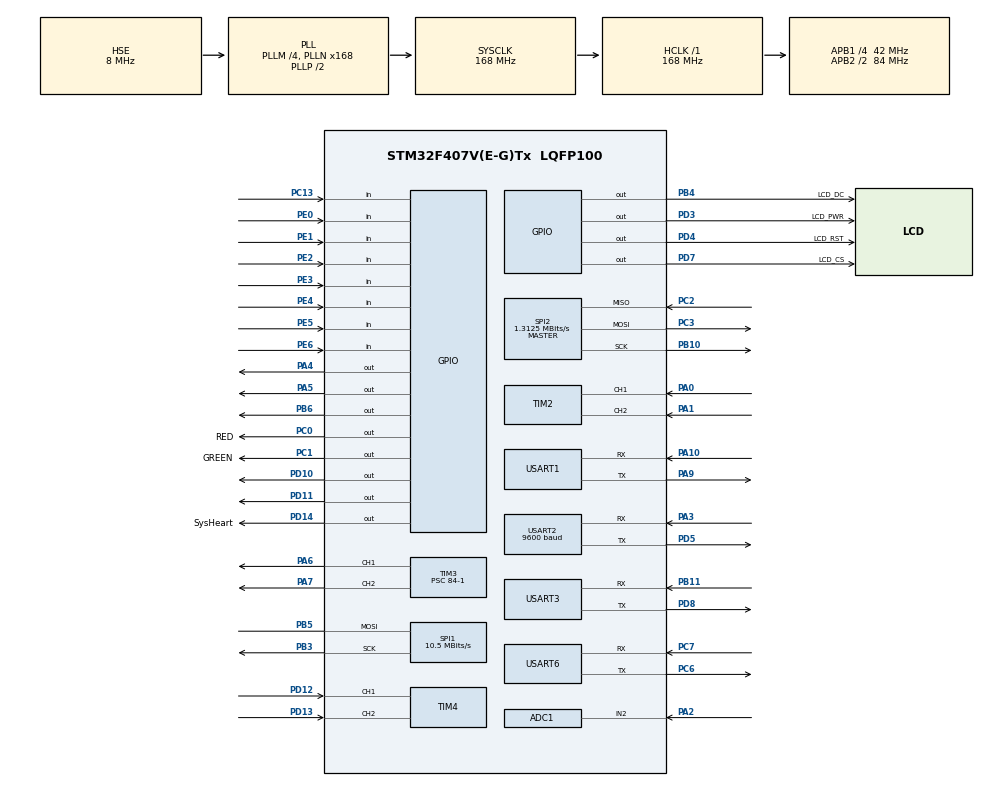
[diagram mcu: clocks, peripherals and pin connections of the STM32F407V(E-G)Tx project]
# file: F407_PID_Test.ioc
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ADC1.Channel-0\#ChannelRegularConversion=ADC_CHANNEL_2
ADC1.ClockPrescaler=ADC_CLOCK_SYNC_PCLK_DIV6
ADC1.ContinuousConvMode=ENABLE
ADC1.DMAContinuousRequests=ENABLE
ADC1.NbrOfConversionFlag=1
ADC1.Rank-0\#ChannelRegularConversion=1
ADC1.SamplingTime-0\#ChannelRegularConversion=ADC_SAMPLETIME_144CYCLES
ADC1.master=1
Dma.ADC1.2.Direction=DMA_PERIPH_TO_MEMORY
Dma.ADC1.2.FIFOMode=DMA_FIFOMODE_DISABLE
Dma.ADC1.2.Instance=DMA2_Stream0
Dma.ADC1.2.MemDataAlignment=DMA_MDATAALIGN_HALFWORD
Dma.ADC1.2.MemInc=DMA_MINC_ENABLE
Dma.ADC1.2.Mode=DMA_CIRCULAR
Dma.ADC1.2.PeriphDataAlignment=DMA_PDATAALIGN_HALFWORD
Dma.ADC1.2.PeriphInc=DMA_PINC_DISABLE
Dma.ADC1.2.Priority=DMA_PRIORITY_LOW
Dma.Request0=USART1_RX
Dma.Request1=USART1_TX
Dma.Request2=ADC1
Dma.Request3=USART6_RX
Dma.USART1_RX.0.Direction=DMA_PERIPH_TO_MEMORY
Dma.USART1_RX.0.FIFOMode=DMA_FIFOMODE_DISABLE
Dma.USART1_RX.0.Instance=DMA2_Stream2
Dma.USART1_RX.0.MemDataAlignment=DMA_MDATAALIGN_BYTE
Dma.USART1_RX.0.MemInc=DMA_MINC_ENABLE
Dma.USART1_RX.0.Mode=DMA_NORMAL
Dma.USART1_RX.0.PeriphDataAlignment=DMA_PDATAALIGN_BYTE
Dma.USART1_RX.0.PeriphInc=DMA_PINC_DISABLE
Dma.USART1_RX.0.Priority=DMA_PRIORITY_LOW
Dma.USART1_TX.1.Direction=DMA_MEMORY_TO_PERIPH
Dma.USART1_TX.1.FIFOMode=DMA_FIFOMODE_DISABLE
Dma.USART1_TX.1.Instance=DMA2_Stream7
Dma.USART1_TX.1.MemDataAlignment=DMA_MDATAALIGN_BYTE
Dma.USART1_TX.1.MemInc=DMA_MINC_ENABLE
Dma.USART1_TX.1.Mode=DMA_NORMAL
Dma.USART1_TX.1.PeriphDataAlignment=DMA_PDATAALIGN_BYTE
Dma.USART1_TX.1.PeriphInc=DMA_PINC_DISABLE
Dma.USART1_TX.1.Priority=DMA_PRIORITY_LOW
Dma.USART6_RX.3.Direction=DMA_PERIPH_TO_MEMORY
Dma.USART6_RX.3.FIFOMode=DMA_FIFOMODE_DISABLE
Dma.USART6_RX.3.Instance=DMA2_Stream1
Dma.USART6_RX.3.MemDataAlignment=DMA_MDATAALIGN_BYTE
Dma.USART6_RX.3.MemInc=DMA_MINC_ENABLE
Dma.USART6_RX.3.Mode=DMA_NORMAL
Dma.USART6_RX.3.PeriphDataAlignment=DMA_PDATAALIGN_BYTE
Dma.USART6_RX.3.PeriphInc=DMA_PINC_DISABLE
Dma.USART6_RX.3.Priority=DMA_PRIORITY_LOW
Mcu.Family=STM32F4
Mcu.Name=STM32F407V(E-G)Tx
Mcu.Package=LQFP100
NVIC.DMA2_Stream0_IRQn=true\:0\:0\:false\:false\:true\:false\:true\:true
NVIC.DMA2_Stream1_IRQn=true\:0\:0\:false\:false\:true\:false\:true\:true
NVIC.DMA2_Stream2_IRQn=true\:0\:0\:false\:false\:true\:false\:true\:true
NVIC.DMA2_Stream7_IRQn=true\:0\:0\:false\:false\:true\:false\:true\:true
NVIC.PriorityGroup=NVIC_PRIORITYGROUP_4
NVIC.TIM1_BRK_TIM9_IRQn=true\:1\:0\:true\:false\:true\:true\:true\:true
NVIC.TIM1_UP_TIM10_IRQn=true\:1\:0\:true\:false\:true\:true\:true\:true
NVIC.TIM2_IRQn=true\:0\:0\:false\:false\:true\:true\:true\:true
NVIC.TIM4_IRQn=true\:0\:0\:false\:false\:true\:true\:true\:true
NVIC.TIM5_IRQn=true\:0\:0\:false\:false\:true\:true\:true\:true
NVIC.USART1_IRQn=true\:0\:0\:false\:false\:true\:true\:true\:true
NVIC.USART3_IRQn=true\:0\:0\:false\:false\:true\:true\:true\:true
NVIC.USART6_IRQn=true\:0\:0\:false\:false\:true\:true\:true\:true
PA0-WKUP.Signal=S_TIM2_CH1_ETR
PA1.Signal=S_TIM2_CH2
PA10.Mode=Asynchronous
PA10.Signal=USART1_RX
PA13.Mode=Serial_Wire
PA13.Signal=SYS_JTMS-SWDIO
PA14.Mode=Serial_Wire
PA14.Signal=SYS_JTCK-SWCLK
PA2.Signal=ADCx_IN2
PA3.Mode=Asynchronous
PA3.Signal=USART2_RX
PA4.Signal=GPIO_Output
PA5.Signal=GPIO_Output
PA6.Signal=S_TIM3_CH1
PA7.Signal=S_TIM3_CH2
PA9.Mode=Asynchronous
PA9.Signal=USART1_TX
PB10.Mode=Full_Duplex_Master
PB10.Signal=SPI2_SCK
PB11.Mode=Asynchronous
PB11.Signal=USART3_RX
PB3.GPIO_PuPd=GPIO_PULLUP
PB3.Mode=Simplex_Bidirectional_Master
PB3.Signal=SPI1_SCK
PB4.GPIO_Label=LCD_DC
PB4.GPIO_PuPd=GPIO_PULLUP
PB4.Signal=GPIO_Output
PB5.GPIO_PuPd=GPIO_PULLUP
PB5.Mode=Simplex_Bidirectional_Master
PB5.Signal=SPI1_MOSI
PB6.GPIO_PuPd=GPIO_PULLUP
PB6.GPIO_Speed=GPIO_SPEED_FREQ_HIGH
PB6.PinState=GPIO_PIN_SET
PB6.Signal=GPIO_Output
PC0.GPIO_Label=RED
PC0.GPIO_PuPd=GPIO_PULLUP
PC0.PinState=GPIO_PIN_SET
PC0.Signal=GPIO_Output
PC1.GPIO_Label=GREEN
PC1.GPIO_PuPd=GPIO_PULLUP
PC1.PinState=GPIO_PIN_SET
PC1.Signal=GPIO_Output
PC13-ANTI_TAMP.Signal=GPIO_Input
PC2.Mode=Full_Duplex_Master
PC2.Signal=SPI2_MISO
PC3.Mode=Full_Duplex_Master
PC3.Signal=SPI2_MOSI
PC6.Mode=Asynchronous
PC6.Signal=USART6_TX
PC7.Mode=Asynchronous
PC7.Signal=USART6_RX
PD10.Signal=GPIO_Output
PD11.Signal=GPIO_Output
PD12.Signal=S_TIM4_CH1
PD13.Signal=S_TIM4_CH2
PD14.GPIO_Label=SysHeart
PD14.Signal=GPIO_Output
PD3.GPIO_Label=LCD_PWR
PD3.GPIO_PuPd=GPIO_PULLUP
PD3.Signal=GPIO_Output
PD4.GPIO_Label=LCD_RST
PD4.GPIO_PuPd=GPIO_PULLUP
PD4.Signal=GPIO_Output
PD5.Mode=Asynchronous
PD5.Signal=USART2_TX
PD7.GPIO_Label=LCD_CS
PD7.GPIO_PuPd=GPIO_PULLUP
PD7.Signal=GPIO_Output
PD8.Mode=Asynchronous
PD8.Signal=USART3_TX
PE0.Signal=GPIO_Input
PE1.Signal=GPIO_Input
PE2.Signal=GPIO_Input
PE3.Signal=GPIO_Input
PE4.Signal=GPIO_Input
PE5.Signal=GPIO_Input
PE6.Signal=GPIO_Input
PH0-OSC_IN.Mode=HSE-External-Oscillator
PH0-OSC_IN.Signal=RCC_OSC_IN
PH1-OSC_OUT.Mode=HSE-External-Oscillator
PH1-OSC_OUT.Signal=RCC_OSC_OUT
ProjectManager.HeapSize=0x1000
ProjectManager.StackSize=0x1000
ProjectManager.TargetToolchain=MDK-ARM V5.32
RCC.48MHZClocksFreq_Value=84000000
RCC.AHBFreq_Value=168000000
RCC.APB1CLKDivider=RCC_HCLK_DIV4
RCC.APB1Freq_Value=42000000
RCC.APB1TimFreq_Value=84000000
RCC.APB2CLKDivider=RCC_HCLK_DIV2
RCC.APB2Freq_Value=84000000
RCC.APB2TimFreq_Value=168000000
RCC.CortexFreq_Value=168000000
RCC.HCLKFreq_Value=168000000
RCC.HSE_VALUE=8000000
RCC.HSI_VALUE=16000000
RCC.LSE_VALUE=32768
RCC.PLLM=4
RCC.PLLN=168
RCC.PLLSourceVirtual=RCC_PLLSOURCE_HSE
RCC.SYSCLKFreq_VALUE=168000000
RCC.SYSCLKSource=RCC_SYSCLKSOURCE_PLLCLK
RCC.VCOOutputFreq_Value=336000000
SH.ADCx_IN2.0=ADC1_IN2,IN2
SH.S_TIM2_CH1_ETR.0=TIM2_CH1,Encoder_Interface
SH.S_TIM2_CH2.0=TIM2_CH2,Encoder_Interface
SH.S_TIM3_CH1.0=TIM3_CH1,PWM Generation1 CH1
SH.S_TIM3_CH2.0=TIM3_CH2,PWM Generation2 CH2
SH.S_TIM4_CH1.0=TIM4_CH1,Encoder_Interface
SH.S_TIM4_CH2.0=TIM4_CH2,Encoder_Interface
SPI1.BaudRatePrescaler=SPI_BAUDRATEPRESCALER_8
SPI1.CLKPhase=SPI_PHASE_2EDGE
SPI1.CLKPolarity=SPI_POLARITY_HIGH
SPI1.CalculateBaudRate=10.5 MBits/s
SPI1.Direction=SPI_DIRECTION_1LINE
SPI1.Mode=SPI_MODE_MASTER
SPI1.VirtualType=VM_MASTER
SPI2.BaudRatePrescaler=SPI_BAUDRATEPRESCALER_32
SPI2.CLKPhase=SPI_PHASE_2EDGE
SPI2.CLKPolarity=SPI_POLARITY_HIGH
SPI2.CalculateBaudRate=1.3125 MBits/s
SPI2.Direction=SPI_DIRECTION_2LINES
SPI2.Mode=SPI_MODE_MASTER
SPI2.VirtualType=VM_MASTER
TIM1.Period=10000-1
TIM1.Prescaler=168-1
TIM2.EncoderMode=TIM_ENCODERMODE_TI12
TIM3.AutoReloadPreload=TIM_AUTORELOAD_PRELOAD_ENABLE
TIM3.Channel-PWM\ Generation1\ CH1=TIM_CHANNEL_1
TIM3.Channel-PWM\ Generation2\ CH2=TIM_CHANNEL_2
TIM3.Period=1000
TIM3.Prescaler=84-1
TIM4.EncoderMode=TIM_ENCODERMODE_TI12
TIM5.Period=100-1
TIM5.Prescaler=84-1
USART1.VirtualMode=VM_ASYNC
USART2.BaudRate=9600
USART2.VirtualMode=VM_ASYNC
USART3.VirtualMode=VM_ASYNC
USART6.VirtualMode=VM_ASYNC
VP_TIM1_VS_ClockSourceINT.Mode=Internal
VP_TIM3_VS_ClockSourceINT.Mode=Internal
VP_TIM5_VS_ClockSourceINT.Mode=Internal
board=custom

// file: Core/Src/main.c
/* USER CODE BEGIN Header */
/**
  ******************************************************************************
  * @file           : main.c
  * @brief          : Main program body
  ******************************************************************************
  * @attention
  *
  * Copyright (c) 2025 STMicroelectronics.
  * All rights reserved.
  *
  * This software is licensed under terms that can be found in the LICENSE file
  * in the root directory of this software component.
  * If no LICENSE file comes with this software, it is provided AS-IS.
  *
  ******************************************************************************
  */
/* USER CODE END Header */
#include "main.h"
#include "adc.h"
#include "dma.h"
#include "spi.h"
#include "tim.h"
#include "usart.h"
#include "gpio.h"

/* USER CODE BEGIN Includes */
#include "headfile.h"

/* USER CODE END Includes */

/* USER CODE BEGIN PV */

/* -------------------- LCD -------------------- */
 static uint16_t line_buffer[320];
 lcd_io lcd_io_desc = {
     .spi = &hspi1,
     .rst = {LCD_RST_GPIO_Port, LCD_RST_Pin, 0},
     .bl  = {LCD_PWR_GPIO_Port, LCD_PWR_Pin, 1},
     .cs  = {LCD_CS_GPIO_Port , LCD_CS_Pin , 0},
     .dc  = {LCD_DC_GPIO_Port , LCD_DC_Pin , 0},
 };
 lcd lcd_desc = {
     .io = &lcd_io_desc,
     .line_buffer = line_buffer,
 };
/* --------------------------------------------- */

/* USER CODE END PV */

void SystemClock_Config(void);

/* USER CODE BEGIN 0 */

/* 串口重定向 */
int fputc(int ch, FILE *f) {
	HAL_UART_Transmit(&huart1,(uint8_t *)&ch,1,HAL_MAX_DELAY);
	return ch;
}

/* 定时回调函数 */
void HAL_TIM_PeriodElapsedCallback(TIM_HandleTypeDef *htim) {
	if(htim->Instance == TIM1) {	// 10ms

		SoftTimer_Check(&SysTimer);

		IMU_getYawPitchRoll(imu_angle);		// 更新陀螺仪角度

		MotorRun();                         // 由系统切换状态控制电机运行

		// printf("%.1f\n",imu_angle[0]);
		// printf("adc:%d\n",adcValue);
		// GetSensorValue(arr);
		// printf("%d,%d,%d,%d,%d,%d,%d,%d\n",arr[0],arr[1],arr[2],arr[3],arr[4],arr[5],arr[6],arr[7]);
	}
	if(htim->Instance == TIM5) {	// 100ns
		imuUpdata();
	}
}

/* 串口空闲中断回调函数 */
void HAL_UARTEx_RxEventCallback(UART_HandleTypeDef *huart, uint16_t Size) {
  if (huart->Instance == USART1) {

#if VOFA_MODE	// 调参模式
      rx_len = Size;      // 记录本次接收到的数据长度
      uart_flag = 1;      // 设置标志位，通知主循环处理
#endif

  }
  if(huart->Instance == USART6) {	// 视觉模块回传数据
	  vision_rx_len = Size;
	  NumUpdate = 1;
  }
}

/* USER CODE END 0 */

int main(void)
{

  /* MCU Configuration--------------------------------------------------------*/

  /* Reset of all peripherals, Initializes the Flash interface and the Systick. */
  HAL_Init();

  /* Configure the system clock */
  SystemClock_Config();

  /* Initialize all configured peripherals */
  MX_GPIO_Init();
  MX_DMA_Init();
  MX_TIM1_Init();
  MX_TIM2_Init();
  MX_USART1_UART_Init();
  MX_TIM3_Init();
  MX_TIM4_Init();
  MX_SPI1_Init();
  MX_ADC1_Init();
  MX_TIM5_Init();
  MX_SPI2_Init();
  MX_USART2_UART_Init();
  MX_USART6_UART_Init();
  MX_USART3_UART_Init();
  /* USER CODE BEGIN 2 */

  /* ----------用户初始化函数---------- */

  SchedulerInit();											                  		  // 初始化任务管理系统
  HsmInit();                                                    // 初始化状态机
  QueueInit(&EventQueue);                                       // 初始化事件队列
  lcd_init_dev(&lcd_desc, LCD_1_47_INCH, LCD_ROTATE_270);		    // 初始化显示屏
  lcd_set_font(&lcd_desc, FONT_2412, LIGHTBLUE, DARKBLUE);      // 设置字号
  // MenuInit();												                        // 初始化菜单
  lcd_clear(&lcd_desc, BLACK);                                  // 显示器清屏
  IMU_init();												                      	    // 初始化陀螺仪
  HAL_Delay(500);                                             	// 等待陀螺仪稳定

  /* ----------系统初始化函数---------- */
#if VOFA_MODE
  HAL_UARTEx_ReceiveToIdle_DMA(&huart1, rx_buffer, RX_BUFFER_SIZE);
#endif
  HAL_UARTEx_ReceiveToIdle_DMA(&huart6,visionBuf,10);				// 启动视觉模块
  HAL_UART_Receive_IT(COM_NUM, &g_rx_byte, 1);						// 启动多机通讯模块
  HAL_ADC_Start_DMA(&hadc1,(uint32_t *)&adcValue, 1);				// 启动光线传感器
  HAL_TIM_Base_Start_IT(&htim1);                            // 启动10ms定时器
  HAL_TIM_Base_Start_IT(&htim5);                            // 启动100ns定时器
  HAL_TIM_Encoder_Start(&htim2, TIM_CHANNEL_ALL);					  // 启动左编码器
  HAL_TIM_Encoder_Start(&htim4, TIM_CHANNEL_ALL);					  // 启动右编码器
  HAL_TIM_PWM_Start(&htim3,TIM_CHANNEL_1);
  HAL_TIM_PWM_Start(&htim3,TIM_CHANNEL_2);

  /* ----------初始程序---------- */
  HAL_UART_Transmit(&huart6,(uint8_t *)"0",1,100);          // 将视觉模块切换为单数字识别模式
  printf("------------------------------------\r\n");
  printf("----------- System Start -----------\r\n");
  printf("------------------------------------\r\n");
  /* USER CODE END 2 */

  /* Infinite loop */
  /* USER CODE BEGIN WHILE */
  while (1)
  {
    SchedulerRun();
    /* USER CODE END WHILE */

  }
}

void SystemClock_Config(void)
{
  RCC_OscInitTypeDef RCC_OscInitStruct = {0};
  RCC_ClkInitTypeDef RCC_ClkInitStruct = {0};

  /** Configure the main internal regulator output voltage
  */
  __HAL_RCC_PWR_CLK_ENABLE();
  __HAL_PWR_VOLTAGESCALING_CONFIG(PWR_REGULATOR_VOLTAGE_SCALE1);

  /** Initializes the RCC Oscillators according to the specified parameters
  * in the RCC_OscInitTypeDef structure.
  */
  RCC_OscInitStruct.OscillatorType = RCC_OSCILLATORTYPE_HSE;
  RCC_OscInitStruct.HSEState = RCC_HSE_ON;
  RCC_OscInitStruct.PLL.PLLState = RCC_PLL_ON;
  RCC_OscInitStruct.PLL.PLLSource = RCC_PLLSOURCE_HSE;
  RCC_OscInitStruct.PLL.PLLM = 4;
  RCC_OscInitStruct.PLL.PLLN = 168;
  RCC_OscInitStruct.PLL.PLLP = RCC_PLLP_DIV2;
  RCC_OscInitStruct.PLL.PLLQ = 4;
  if (HAL_RCC_OscConfig(&RCC_OscInitStruct) != HAL_OK)
  {
    Error_Handler();
  }

  /** Initializes the CPU, AHB and APB buses clocks
  */
  RCC_ClkInitStruct.ClockType = RCC_CLOCKTYPE_HCLK|RCC_CLOCKTYPE_SYSCLK
                              |RCC_CLOCKTYPE_PCLK1|RCC_CLOCKTYPE_PCLK2;
  RCC_ClkInitStruct.SYSCLKSource = RCC_SYSCLKSOURCE_PLLCLK;
  RCC_ClkInitStruct.AHBCLKDivider = RCC_SYSCLK_DIV1;
  RCC_ClkInitStruct.APB1CLKDivider = RCC_HCLK_DIV4;
  RCC_ClkInitStruct.APB2CLKDivider = RCC_HCLK_DIV2;

  if (HAL_RCC_ClockConfig(&RCC_ClkInitStruct, FLASH_LATENCY_5) != HAL_OK)
  {
    Error_Handler();
  }
}

void Error_Handler(void)
{
  __disable_irq();
  while (1)
  {
  }
}
